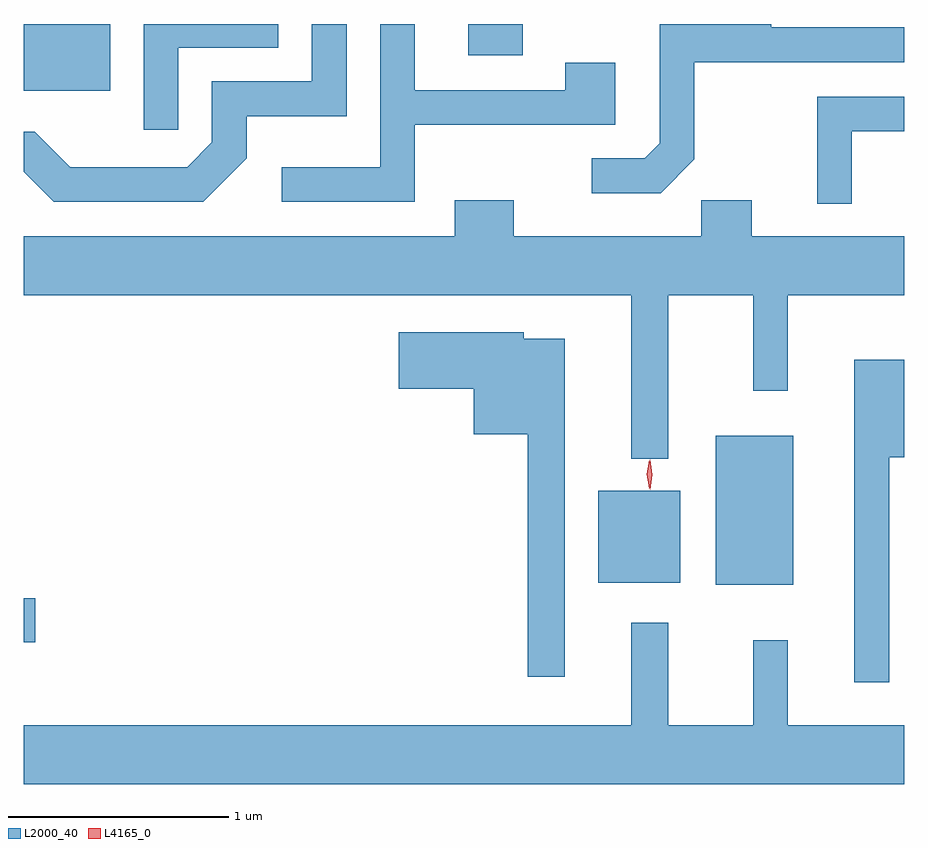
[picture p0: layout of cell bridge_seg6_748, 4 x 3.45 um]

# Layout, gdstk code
import gdstk
lib = gdstk.Library(unit=1e-6, precision=1e-09)
def R(c, l, rs):  # rectangles x0, y0, x1, y1
    for r in rs: c.add(gdstk.rectangle(r[:2], r[2:], *l))
def P(c, l, *ps):  # polygons
    for p in ps: c.add(gdstk.Polygon(p, *l))
L2000_40 = (2000, 40)
L4165_0 = (4165, 0)

bridge_seg6_748 = lib.new_cell('bridge_seg6_748')
R(bridge_seg6_748, L2000_40, [(409.352,1575.101,409.404,1575.299), (412.496,1575.361,412.849,1576.039), (411.961,1575.371,412.334,1575.789), (409.352,1577.606,409.744,1577.909), (411.371,1577.766,411.619,1577.909)])
P(bridge_seg6_748, L2000_40, [(410.364,1577.299),(410.364,1577.491),(410.819,1577.491),(410.819,1577.909),(410.661,1577.909),(410.661,1577.649),(410.206,1577.649),(410.206,1577.372),(410.094,1577.259),(409.562,1577.259),(409.402,1577.419),(409.352,1577.419),(409.352,1577.238),(409.489,1577.101),(410.167,1577.101)],
  [(410.054,1577.801),(410.509,1577.801),(410.509,1577.909),(409.896,1577.909),(409.896,1577.428),(410.054,1577.428)],
  [(411.129,1577.451),(412.039,1577.451),(412.039,1577.734),(411.811,1577.734),(411.811,1577.609),(411.129,1577.609),(411.129,1577.909),(410.971,1577.909),(410.971,1577.259),(410.523,1577.259),(410.523,1577.101),(411.129,1577.101)],
  [(412.399,1577.294),(412.399,1577.736),(413.352,1577.736),(413.352,1577.894),(412.749,1577.894),(412.749,1577.909),(412.241,1577.909),(412.241,1577.367),(412.174,1577.299),(411.933,1577.299),(411.933,1577.141),(412.247,1577.141)],
  [(413.114,1577.421),(413.352,1577.421),(413.352,1577.579),(412.956,1577.579),(412.956,1577.093),(413.114,1577.093)],
  [(412.279,1576.676),(412.666,1576.676),(412.666,1576.243),(412.824,1576.243),(412.824,1576.676),(413.352,1576.676),(413.352,1576.944),(412.659,1576.944),(412.659,1577.109),(412.431,1577.109),(412.431,1576.944),(411.579,1576.944),(411.579,1577.109),(411.311,1577.109),(411.311,1576.944),(409.352,1576.944),(409.352,1576.676),(412.111,1576.676),(412.111,1575.933),(412.279,1575.933)],
  [(411.809,1576.479),(411.624,1576.479),(411.624,1576.509),(411.056,1576.509),(411.056,1576.251),(411.396,1576.251),(411.396,1576.046),(411.641,1576.046),(411.641,1574.943),(411.809,1574.943)],
  [(413.284,1575.941),(413.352,1575.941),(413.352,1576.384),(413.126,1576.384),(413.126,1574.918),(413.284,1574.918)],
  [(413.352,1574.724),(412.824,1574.724),(412.824,1575.108),(412.666,1575.108),(412.666,1574.724),(412.279,1574.724),(412.279,1575.188),(412.111,1575.188),(412.111,1574.724),(409.352,1574.724),(409.352,1574.456),(413.352,1574.456)])
P(bridge_seg6_748, L4165_0, [(412.198,1575.794),(412.198,1575.794),(412.188,1575.862),(412.198,1575.93),(412.198,1575.93),(412.199,1575.93),(412.208,1575.862),(412.199,1575.794)],
  [(412.193,1575.798),(412.193,1575.799),(412.183,1575.863),(412.193,1575.927),(412.193,1575.927),(412.194,1575.927),(412.203,1575.863),(412.194,1575.799)])

lib.write_gds('bridge_seg6_748.gds')
